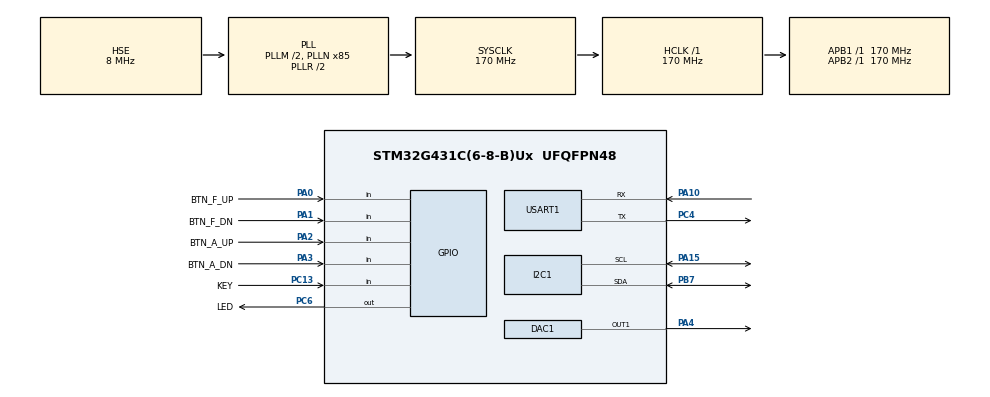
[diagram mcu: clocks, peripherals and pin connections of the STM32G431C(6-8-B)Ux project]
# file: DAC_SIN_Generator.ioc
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DAC1.DAC_Trigger_OUT1-DAC_OUT1=DAC_TRIGGER_T7_TRGO
Dma.DAC1_CH1.0.Direction=DMA_MEMORY_TO_PERIPH
Dma.DAC1_CH1.0.EventEnable=DISABLE
Dma.DAC1_CH1.0.Instance=DMA1_Channel1
Dma.DAC1_CH1.0.MemDataAlignment=DMA_MDATAALIGN_HALFWORD
Dma.DAC1_CH1.0.MemInc=DMA_MINC_ENABLE
Dma.DAC1_CH1.0.Mode=DMA_CIRCULAR
Dma.DAC1_CH1.0.PeriphDataAlignment=DMA_PDATAALIGN_WORD
Dma.DAC1_CH1.0.PeriphInc=DMA_PINC_DISABLE
Dma.DAC1_CH1.0.Polarity=HAL_DMAMUX_REQ_GEN_RISING
Dma.DAC1_CH1.0.Priority=DMA_PRIORITY_LOW
Dma.DAC1_CH1.0.RequestNumber=1
Dma.DAC1_CH1.0.SignalID=NONE
Dma.DAC1_CH1.0.SyncEnable=DISABLE
Dma.DAC1_CH1.0.SyncPolarity=HAL_DMAMUX_SYNC_NO_EVENT
Dma.DAC1_CH1.0.SyncRequestNumber=1
Dma.DAC1_CH1.0.SyncSignalID=NONE
Dma.Request0=DAC1_CH1
I2C1.Timing=0x40B285C2
Mcu.Family=STM32G4
Mcu.Name=STM32G431C(6-8-B)Ux
Mcu.Package=UFQFPN48
NVIC.DMA1_Channel1_IRQn=true\:0\:0\:false\:false\:true\:false\:true\:true
NVIC.PriorityGroup=NVIC_PRIORITYGROUP_4
PA0.GPIO_Label=BTN_F_UP
PA0.GPIO_PuPd=GPIO_PULLUP
PA0.Signal=GPIO_Input
PA1.GPIO_Label=BTN_F_DN
PA1.GPIO_PuPd=GPIO_PULLUP
PA1.Signal=GPIO_Input
PA10.Mode=Asynchronous
PA10.Signal=USART1_RX
PA13.Mode=Trace_Asynchronous_SW
PA13.Signal=SYS_JTMS-SWDIO
PA14.Mode=Trace_Asynchronous_SW
PA14.Signal=SYS_JTCK-SWCLK
PA15.Mode=I2C
PA15.Signal=I2C1_SCL
PA2.GPIO_Label=BTN_A_UP
PA2.GPIO_PuPd=GPIO_PULLUP
PA2.Signal=GPIO_Input
PA3.GPIO_Label=BTN_A_DN
PA3.GPIO_PuPd=GPIO_PULLUP
PA3.Signal=GPIO_Input
PA4.Signal=COMP_DAC11_group
PB3.Mode=Trace_Asynchronous_SW
PB3.Signal=SYS_JTDO-SWO
PB7.Mode=I2C
PB7.Signal=I2C1_SDA
PC13.GPIO_Label=KEY
PC13.GPIO_PuPd=GPIO_PULLDOWN
PC13.Signal=GPIO_Input
PC4.Mode=Asynchronous
PC4.Signal=USART1_TX
PC6.GPIO_Label=LED
PC6.GPIO_ModeDefaultOutputPP=GPIO_MODE_OUTPUT_PP
PC6.GPIO_Speed=GPIO_SPEED_FREQ_LOW
PC6.PinState=GPIO_PIN_RESET
PC6.Signal=GPIO_Output
PF0-OSC_IN.Mode=HSE-External-Oscillator
PF0-OSC_IN.Signal=RCC_OSC_IN
PF1-OSC_OUT.Mode=HSE-External-Oscillator
PF1-OSC_OUT.Signal=RCC_OSC_OUT
ProjectManager.HeapSize=0x200
ProjectManager.StackSize=0x400
ProjectManager.TargetToolchain=STM32CubeIDE
RCC.ADC12Freq_Value=170000000
RCC.AHBFreq_Value=170000000
RCC.APB1Freq_Value=170000000
RCC.APB1TimFreq_Value=170000000
RCC.APB2Freq_Value=170000000
RCC.APB2TimFreq_Value=170000000
RCC.CortexFreq_Value=170000000
RCC.EXTERNAL_CLOCK_VALUE=12288000
RCC.HCLKFreq_Value=170000000
RCC.HSE_VALUE=8000000
RCC.HSI48_VALUE=48000000
RCC.HSI_VALUE=16000000
RCC.LSE_VALUE=32768
RCC.PLLM=RCC_PLLM_DIV2
RCC.PLLN=85
RCC.PLLSourceVirtual=RCC_PLLSOURCE_HSE
RCC.SYSCLKFreq_VALUE=170000000
RCC.SYSCLKSource=RCC_SYSCLKSOURCE_PLLCLK
RCC.USBFreq_Value=170000000
RCC.VCOOutputFreq_Value=340000000
SH.COMP_DAC11_group.0=DAC1_OUT1,DAC_OUT1
STMicroelectronics.X-CUBE-ALGOBUILD.1.4.0.LibraryCcDSPOoLibraryJjDSPOoLibrary=true
TIM7.PeriodNoDither=5-1
TIM7.Prescaler=170-1
TIM7.TIM_MasterOutputTrigger=TIM_TRGO_UPDATE
USART1.VirtualMode-Asynchronous=VM_ASYNC
VP_STMicroelectronics.X-CUBE-ALGOBUILD_VS_DSPOoLibraryJjLibrary_1.4.0_1.4.0.Mode=DSPOoLibraryJjLibrary
VP_SYS_VS_DBSignals.Mode=DisableDeadBatterySignals
VP_TIM7_VS_ClockSourceINT.Mode=Enable_Timer
board=custom

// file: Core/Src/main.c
/* USER CODE BEGIN Header */
/**
  ******************************************************************************
  * @file           : main.c
  * @brief          : Main program body
  ******************************************************************************
  * @attention
  *
  * Copyright (c) 2025 STMicroelectronics.
  * All rights reserved.
  *
  * This software is licensed under terms that can be found in the LICENSE file
  * in the root directory of this software component.
  * If no LICENSE file comes with this software, it is provided AS-IS.
  *
  ******************************************************************************
  */
/* USER CODE END Header */
#include "main.h"

/* USER CODE BEGIN Includes */
#include "math.h"
#include "arm_math.h"
#include <stdio.h>
#include "ssd1315.h"

/* USER CODE END Includes */

/* USER CODE BEGIN PD */
#define DMA_BUFFER_SIZE 64
#define SAMPLE_FREQ 200000
#define OUTPUT_MID 2047
/* USER CODE END PD */

DAC_HandleTypeDef hdac1;
DMA_HandleTypeDef hdma_dac1_ch1;

I2C_HandleTypeDef hi2c1;

TIM_HandleTypeDef htim7;

UART_HandleTypeDef huart1;

/* USER CODE BEGIN PV */

float Frequency = 1.0;
float Amplifier = 0.95;

uint16_t DMA_Buffer[2 * DMA_BUFFER_SIZE];
float Angle = 0;
float Angle_Step = 1.0 * (2 * M_PI / SAMPLE_FREQ);

/* USER CODE END PV */

void SystemClock_Config(void);
static void MX_GPIO_Init(void);
static void MX_DMA_Init(void);
static void MX_DAC1_Init(void);
static void MX_TIM7_Init(void);
static void MX_USART1_UART_Init(void);
static void MX_I2C1_Init(void);

/* USER CODE BEGIN 0 */

void Fill_DMA_Buffer(uint16_t *buffer) {
	Angle_Step = Frequency * (2.0 * M_PI / SAMPLE_FREQ);

    for (int i = 0; i < DMA_BUFFER_SIZE; ++i) {
        buffer[i] = OUTPUT_MID - (Amplifier * (OUTPUT_MID * arm_sin_f32(Angle)));
        Angle += Angle_Step;
        if (Angle >= M_TWOPI) {
            Angle -= M_TWOPI;
        }
    }
}

void HAL_DAC_ConvCpltCallbackCh1(DAC_HandleTypeDef *hdac) {
	Fill_DMA_Buffer(&DMA_Buffer[DMA_BUFFER_SIZE]);
}

void HAL_DAC_ConvHalfCpltCallbackCh1(DAC_HandleTypeDef *hdac) {
	Fill_DMA_Buffer(&DMA_Buffer[0]);
}

/* USER CODE END 0 */

int main(void)
{

  /* USER CODE BEGIN 1 */

	SSD1315Struct Display;
	uint8_t buffer[15];

  /* USER CODE END 1 */

  /* MCU Configuration--------------------------------------------------------*/

  /* Reset of all peripherals, Initializes the Flash interface and the Systick. */
  HAL_Init();

  /* Configure the system clock */
  SystemClock_Config();

  /* Initialize all configured peripherals */
  MX_GPIO_Init();
  MX_DMA_Init();
  MX_DAC1_Init();
  MX_TIM7_Init();
  MX_USART1_UART_Init();
  MX_I2C1_Init();
  /* USER CODE BEGIN 2 */

  HAL_TIM_Base_Start(&htim7);
  HAL_DAC_Start_DMA(&hdac1, DAC_CHANNEL_1, (uint32_t*) &DMA_Buffer, 2 * DMA_BUFFER_SIZE, DAC_ALIGN_12B_R);

  LCD_Init(&Display, &hi2c1, 0x3C);
  /* USER CODE END 2 */

  /* Infinite loop */
  /* USER CODE BEGIN WHILE */
  while (1)
  {
  	  if (HAL_GPIO_ReadPin(BTN_F_UP_GPIO_Port, BTN_F_UP_Pin) == GPIO_PIN_RESET) {
  		  if (Frequency < 1000.0) {
  			  Frequency += 1.0;
  		  }
	  }

  	  if (HAL_GPIO_ReadPin(BTN_F_DN_GPIO_Port, BTN_F_DN_Pin) == GPIO_PIN_RESET) {
  		if (Frequency > 1.0) {
  			Frequency -= 1.0;
  		}
	  }

  	  if (HAL_GPIO_ReadPin(BTN_A_UP_GPIO_Port, BTN_A_UP_Pin) == GPIO_PIN_RESET) {
  		if (Amplifier < 0.94) {
  			Amplifier += 0.01;
  		}
	  }

  	  if (HAL_GPIO_ReadPin(BTN_A_DN_GPIO_Port, BTN_A_DN_Pin) == GPIO_PIN_RESET) {
		if (Amplifier > 0.01) {
			Amplifier -= 0.01;
		}
	  }

  	  // Display

  	  // Clear Display
  	  LCD_Cache_Clear(&Display);

  	  LCD_SetTextPos(&Display, 0, 0);
  	  sprintf((char *)buffer, "F: %d", (int)Frequency);
  	  LCD_Print(&Display, buffer, 2);

  	  LCD_SetTextPos(&Display, 0, 3);
  	  sprintf((char *)buffer, "A: %.3f", Amplifier);
  	  LCD_Print(&Display, buffer, 2);

  	  LCD_Update(&Display);

	  HAL_Delay(50);
    /* USER CODE END WHILE */

  }
}

void SystemClock_Config(void)
{
  RCC_OscInitTypeDef RCC_OscInitStruct = {0};
  RCC_ClkInitTypeDef RCC_ClkInitStruct = {0};

  /** Configure the main internal regulator output voltage
  */
  HAL_PWREx_ControlVoltageScaling(PWR_REGULATOR_VOLTAGE_SCALE1_BOOST);

  /** Initializes the RCC Oscillators according to the specified parameters
  * in the RCC_OscInitTypeDef structure.
  */
  RCC_OscInitStruct.OscillatorType = RCC_OSCILLATORTYPE_HSE;
  RCC_OscInitStruct.HSEState = RCC_HSE_ON;
  RCC_OscInitStruct.PLL.PLLState = RCC_PLL_ON;
  RCC_OscInitStruct.PLL.PLLSource = RCC_PLLSOURCE_HSE;
  RCC_OscInitStruct.PLL.PLLM = RCC_PLLM_DIV2;
  RCC_OscInitStruct.PLL.PLLN = 85;
  RCC_OscInitStruct.PLL.PLLP = RCC_PLLP_DIV2;
  RCC_OscInitStruct.PLL.PLLQ = RCC_PLLQ_DIV2;
  RCC_OscInitStruct.PLL.PLLR = RCC_PLLR_DIV2;
  if (HAL_RCC_OscConfig(&RCC_OscInitStruct) != HAL_OK)
  {
    Error_Handler();
  }

  /** Initializes the CPU, AHB and APB buses clocks
  */
  RCC_ClkInitStruct.ClockType = RCC_CLOCKTYPE_HCLK|RCC_CLOCKTYPE_SYSCLK
                              |RCC_CLOCKTYPE_PCLK1|RCC_CLOCKTYPE_PCLK2;
  RCC_ClkInitStruct.SYSCLKSource = RCC_SYSCLKSOURCE_PLLCLK;
  RCC_ClkInitStruct.AHBCLKDivider = RCC_SYSCLK_DIV1;
  RCC_ClkInitStruct.APB1CLKDivider = RCC_HCLK_DIV1;
  RCC_ClkInitStruct.APB2CLKDivider = RCC_HCLK_DIV1;

  if (HAL_RCC_ClockConfig(&RCC_ClkInitStruct, FLASH_LATENCY_4) != HAL_OK)
  {
    Error_Handler();
  }
}

static void MX_DAC1_Init(void)
{

  DAC_ChannelConfTypeDef sConfig = {0};

  /** DAC Initialization
  */
  hdac1.Instance = DAC1;
  if (HAL_DAC_Init(&hdac1) != HAL_OK)
  {
    Error_Handler();
  }

  /** DAC channel OUT1 config
  */
  sConfig.DAC_HighFrequency = DAC_HIGH_FREQUENCY_INTERFACE_MODE_AUTOMATIC;
  sConfig.DAC_DMADoubleDataMode = DISABLE;
  sConfig.DAC_SignedFormat = DISABLE;
  sConfig.DAC_SampleAndHold = DAC_SAMPLEANDHOLD_DISABLE;
  sConfig.DAC_Trigger = DAC_TRIGGER_T7_TRGO;
  sConfig.DAC_Trigger2 = DAC_TRIGGER_NONE;
  sConfig.DAC_OutputBuffer = DAC_OUTPUTBUFFER_ENABLE;
  sConfig.DAC_ConnectOnChipPeripheral = DAC_CHIPCONNECT_EXTERNAL;
  sConfig.DAC_UserTrimming = DAC_TRIMMING_FACTORY;
  if (HAL_DAC_ConfigChannel(&hdac1, &sConfig, DAC_CHANNEL_1) != HAL_OK)
  {
    Error_Handler();
  }

}

static void MX_I2C1_Init(void)
{

  hi2c1.Instance = I2C1;
  hi2c1.Init.Timing = 0x40B285C2;
  hi2c1.Init.OwnAddress1 = 0;
  hi2c1.Init.AddressingMode = I2C_ADDRESSINGMODE_7BIT;
  hi2c1.Init.DualAddressMode = I2C_DUALADDRESS_DISABLE;
  hi2c1.Init.OwnAddress2 = 0;
  hi2c1.Init.OwnAddress2Masks = I2C_OA2_NOMASK;
  hi2c1.Init.GeneralCallMode = I2C_GENERALCALL_DISABLE;
  hi2c1.Init.NoStretchMode = I2C_NOSTRETCH_DISABLE;
  if (HAL_I2C_Init(&hi2c1) != HAL_OK)
  {
    Error_Handler();
  }

  /** Configure Analogue filter
  */
  if (HAL_I2CEx_ConfigAnalogFilter(&hi2c1, I2C_ANALOGFILTER_ENABLE) != HAL_OK)
  {
    Error_Handler();
  }

  /** Configure Digital filter
  */
  if (HAL_I2CEx_ConfigDigitalFilter(&hi2c1, 0) != HAL_OK)
  {
    Error_Handler();
  }

}

static void MX_TIM7_Init(void)
{

  TIM_MasterConfigTypeDef sMasterConfig = {0};

  htim7.Instance = TIM7;
  htim7.Init.Prescaler = 170-1;
  htim7.Init.CounterMode = TIM_COUNTERMODE_UP;
  htim7.Init.Period = 4;
  htim7.Init.AutoReloadPreload = TIM_AUTORELOAD_PRELOAD_DISABLE;
  if (HAL_TIM_Base_Init(&htim7) != HAL_OK)
  {
    Error_Handler();
  }
  sMasterConfig.MasterOutputTrigger = TIM_TRGO_UPDATE;
  sMasterConfig.MasterSlaveMode = TIM_MASTERSLAVEMODE_DISABLE;
  if (HAL_TIMEx_MasterConfigSynchronization(&htim7, &sMasterConfig) != HAL_OK)
  {
    Error_Handler();
  }

}

static void MX_USART1_UART_Init(void)
{

  huart1.Instance = USART1;
  huart1.Init.BaudRate = 115200;
  huart1.Init.WordLength = UART_WORDLENGTH_8B;
  huart1.Init.StopBits = UART_STOPBITS_1;
  huart1.Init.Parity = UART_PARITY_NONE;
  huart1.Init.Mode = UART_MODE_TX_RX;
  huart1.Init.HwFlowCtl = UART_HWCONTROL_NONE;
  huart1.Init.OverSampling = UART_OVERSAMPLING_16;
  huart1.Init.OneBitSampling = UART_ONE_BIT_SAMPLE_DISABLE;
  huart1.Init.ClockPrescaler = UART_PRESCALER_DIV1;
  huart1.AdvancedInit.AdvFeatureInit = UART_ADVFEATURE_NO_INIT;
  if (HAL_UART_Init(&huart1) != HAL_OK)
  {
    Error_Handler();
  }
  if (HAL_UARTEx_SetTxFifoThreshold(&huart1, UART_TXFIFO_THRESHOLD_1_8) != HAL_OK)
  {
    Error_Handler();
  }
  if (HAL_UARTEx_SetRxFifoThreshold(&huart1, UART_RXFIFO_THRESHOLD_1_8) != HAL_OK)
  {
    Error_Handler();
  }
  if (HAL_UARTEx_DisableFifoMode(&huart1) != HAL_OK)
  {
    Error_Handler();
  }

}

static void MX_DMA_Init(void)
{

  /* DMA controller clock enable */
  __HAL_RCC_DMAMUX1_CLK_ENABLE();
  __HAL_RCC_DMA1_CLK_ENABLE();

  /* DMA interrupt init */
  /* DMA1_Channel1_IRQn interrupt configuration */
  HAL_NVIC_SetPriority(DMA1_Channel1_IRQn, 0, 0);
  HAL_NVIC_EnableIRQ(DMA1_Channel1_IRQn);

}

static void MX_GPIO_Init(void)
{
  GPIO_InitTypeDef GPIO_InitStruct = {0};

  /* GPIO Ports Clock Enable */
  __HAL_RCC_GPIOC_CLK_ENABLE();
  __HAL_RCC_GPIOF_CLK_ENABLE();
  __HAL_RCC_GPIOA_CLK_ENABLE();
  __HAL_RCC_GPIOB_CLK_ENABLE();

  /*Configure GPIO pin Output Level */
  HAL_GPIO_WritePin(LED_GPIO_Port, LED_Pin, GPIO_PIN_RESET);

  /*Configure GPIO pin : KEY_Pin */
  GPIO_InitStruct.Pin = KEY_Pin;
  GPIO_InitStruct.Mode = GPIO_MODE_INPUT;
  GPIO_InitStruct.Pull = GPIO_PULLDOWN;
  HAL_GPIO_Init(KEY_GPIO_Port, &GPIO_InitStruct);

  /*Configure GPIO pins : BTN_F_UP_Pin BTN_F_DN_Pin BTN_A_UP_Pin BTN_A_DN_Pin */
  GPIO_InitStruct.Pin = BTN_F_UP_Pin|BTN_F_DN_Pin|BTN_A_UP_Pin|BTN_A_DN_Pin;
  GPIO_InitStruct.Mode = GPIO_MODE_INPUT;
  GPIO_InitStruct.Pull = GPIO_PULLUP;
  HAL_GPIO_Init(GPIOA, &GPIO_InitStruct);

  /*Configure GPIO pin : LED_Pin */
  GPIO_InitStruct.Pin = LED_Pin;
  GPIO_InitStruct.Mode = GPIO_MODE_OUTPUT_PP;
  GPIO_InitStruct.Pull = GPIO_NOPULL;
  GPIO_InitStruct.Speed = GPIO_SPEED_FREQ_LOW;
  HAL_GPIO_Init(LED_GPIO_Port, &GPIO_InitStruct);

}

void Error_Handler(void)
{
  __disable_irq();
  while (1)
  {
  }
}
